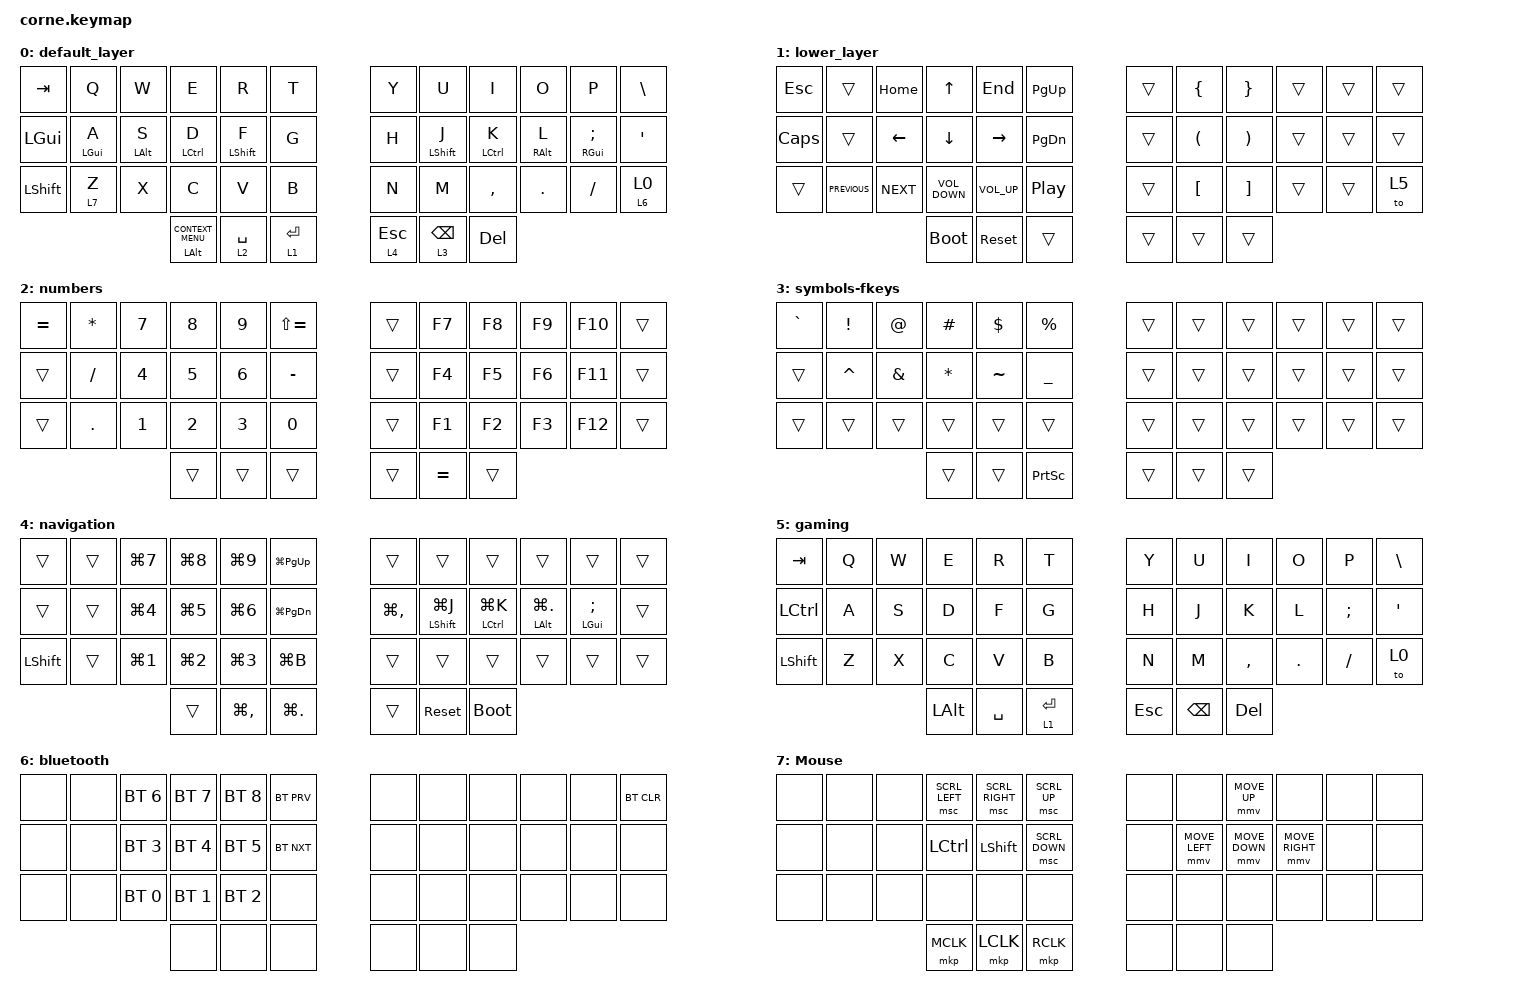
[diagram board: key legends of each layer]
/*
 * Copyright (c) 2020 The ZMK Contributors
 *
 * SPDX-License-Identifier: MIT
 */

#include <behaviors.dtsi>
#include <dt-bindings/zmk/bt.h>
#include <dt-bindings/zmk/keys.h>
#include <dt-bindings/zmk/pointing.h>

/ {
    behaviors {
        homerow: homerow {
            compatible = "zmk,behavior-hold-tap";
            label = "HOMEROW";
            bindings = <&kp>, <&kp>;

            #binding-cells = <2>;
            flavor = "balanced";
            tapping-term-ms = <170>;
        };

        connection: connection {
            compatible = "zmk,behavior-hold-tap";
            label = "CONNECTION";
            #binding-cells = <2>;
            bindings = <&mo>, <&to>;

            flavor = "balanced";
            tapping-term-ms = <300>;
        };

        homerow2: homerow2 {
            compatible = "zmk,behavior-hold-tap";
            label = "HOMEROW2";
            bindings = <&kp>, <&kp>;

            #binding-cells = <2>;
            flavor = "tap-preferred";
            tapping-term-ms = <300>;
        };
    };

    keymap {
        compatible = "zmk,keymap";

        default_layer {
            // -----------------------------------------------------------------------------------------
            // |  TAB |  Q  |  W  |  E  |  R  |  T  |   |  Y  |  U   |  I  |  O  |  P  | BSPC |
            // | CTRL |  A  |  S  |  D  |  F  |  G  |   |  H  |  J   |  K  |  L  |  ;  |  '   |
            // | SHFT |  Z  |  X  |  C  |  V  |  B  |   |  N  |  M   |  ,  |  .  |  /  | ESC  |
            //                    | GUI | LWR | SPC |   | ENT | RSE  | ALT |

            bindings = <
&kp TAB       &kp Q                 &kp W                 &kp E                        &kp R                  &kp T          &kp Y         &kp U                  &kp I             &kp O                  &kp P                          &kp BACKSLASH
&kp LEFT_GUI  &homerow2 LEFT_GUI A  &homerow2 LEFT_ALT S  &homerow LEFT_CONTROL D      &homerow LEFT_SHIFT F  &kp G          &kp H         &homerow LEFT_SHIFT J  &homerow LCTRL K  &homerow2 RIGHT_ALT L  &homerow2 RIGHT_GUI SEMICOLON  &kp SQT
&kp LSHFT     &lt 7 Z               &kp X                 &kp C                        &kp V                  &kp B          &kp N         &kp M                  &kp COMMA         &kp DOT                &kp FSLH                       &connection 6 0
                                                          &mt LEFT_ALT K_CONTEXT_MENU  &lt 2 SPACE            &lt 1 ENTER    &lt 4 ESCAPE  &lt 3 BACKSPACE        &kp DELETE
            >;
        };

        lower_layer {
            // -----------------------------------------------------------------------------------------
            // |  TAB |  1  |  2  |  3  |  4  |  5  |   |  6  |  7  |  8  |  9  |  0  | BSPC |
            // | BTCLR| BT1 | BT2 | BT3 | BT4 | BT5 |   | LFT | DWN |  UP | RGT |     |      |
            // | SHFT |     |     |     |     |     |   |     |     |     |     |     |      |
            //                    | GUI |     | SPC |   | ENT |     | ALT |

            bindings = <
&kp ESCAPE    &trans          &kp HOME    &kp UP_ARROW       &kp END          &kp PAGE_UP         &trans  &kp LEFT_BRACE        &kp RIGHT_BRACE        &trans  &trans  &trans
&kp CAPSLOCK  &trans          &kp LEFT    &kp DOWN           &kp RIGHT        &kp PAGE_DOWN       &trans  &kp LEFT_PARENTHESIS  &kp RIGHT_PARENTHESIS  &trans  &trans  &trans
&trans        &kp C_PREVIOUS  &kp C_NEXT  &kp C_VOLUME_DOWN  &kp C_VOLUME_UP  &kp C_PLAY_PAUSE    &trans  &kp LEFT_BRACKET      &kp RIGHT_BRACKET      &trans  &trans  &to 5
                                          &bootloader        &sys_reset       &trans              &trans  &trans                &trans
            >;
        };

        numbers {
            bindings = <
&kp EQUAL  &kp ASTERISK  &kp N7        &kp N8        &kp N9        &kp LS(EQUAL)    &trans  &kp F7     &kp F8  &kp F9  &kp F10  &trans
&trans     &kp SLASH     &kp NUMBER_4  &kp N5        &kp NUMBER_6  &kp MINUS        &trans  &kp F4     &kp F5  &kp F6  &kp F11  &trans
&trans     &kp PERIOD    &kp NUMBER_1  &kp NUMBER_2  &kp NUMBER_3  &kp N0           &trans  &kp F1     &kp F2  &kp F3  &kp F12  &trans
                                       &trans        &trans        &trans           &trans  &kp EQUAL  &trans
            >;
        };

        symbols-fkeys {
            bindings = <
&kp GRAVE  &kp EXCLAMATION  &kp AT_SIGN    &kp HASH      &kp DOLLAR  &kp PERCENT        &trans  &trans  &trans  &trans  &trans  &trans
&trans     &kp CARET        &kp AMPERSAND  &kp ASTERISK  &kp TILDE   &kp UNDERSCORE     &trans  &trans  &trans  &trans  &trans  &trans
&trans     &trans           &trans         &trans        &trans      &trans             &trans  &trans  &trans  &trans  &trans  &trans
                                           &trans        &trans      &kp PRINTSCREEN    &trans  &trans  &trans
            >;
        };

        navigation {
            bindings = <
&trans          &trans  &kp LG(N7)        &kp LG(N8)        &kp LG(N9)        &kp LG(PAGE_UP)      &trans         &trans                     &trans                &trans                         &trans                        &trans
&trans          &trans  &kp LG(NUMBER_4)  &kp LG(N5)        &kp LG(NUMBER_6)  &kp LG(PAGE_DOWN)    &kp LG(COMMA)  &homerow LEFT_SHIFT LG(J)  &homerow LCTRL LG(K)  &homerow2 LEFT_ALT LG(PERIOD)  &homerow2 LEFT_GUI SEMICOLON  &trans
&kp LEFT_SHIFT  &trans  &kp LG(NUMBER_1)  &kp LG(NUMBER_2)  &kp LG(NUMBER_3)  &kp LG(B)            &trans         &trans                     &trans                &trans                         &trans                        &trans
                                          &trans            &kp LG(COMMA)     &kp LG(PERIOD)       &trans         &sys_reset                 &bootloader
            >;
        };

        gaming {
            bindings = <
&kp TAB    &kp Q  &kp W  &kp E     &kp R      &kp T          &kp Y       &kp U          &kp I      &kp O    &kp P     &kp BACKSLASH
&kp LCTRL  &kp A  &kp S  &kp D     &kp F      &kp G          &kp H       &kp J          &kp K      &kp L    &kp SEMI  &kp APOS
&kp LSHFT  &kp Z  &kp X  &kp C     &kp V      &kp B          &kp N       &kp M          &kp COMMA  &kp DOT  &kp FSLH  &to 0
                         &kp LALT  &kp SPACE  &lt 1 ENTER    &kp ESCAPE  &kp BACKSPACE  &kp DEL
            >;
        };

        bluetooth {
            bindings = <
&none  &none  &bt BT_SEL 6  &bt BT_SEL 7  &bt BT_SEL 8  &bt BT_PRV    &none  &none  &none  &none  &none  &bt BT_CLR
&none  &none  &bt BT_SEL 3  &bt BT_SEL 4  &bt BT_SEL 5  &bt BT_NXT    &none  &none  &none  &none  &none  &none
&none  &none  &bt BT_SEL 0  &bt BT_SEL 1  &bt BT_SEL 2  &none         &none  &none  &none  &none  &none  &none
                            &none         &none         &none         &none  &none  &none
            >;
        };

        Mouse {
            bindings = <
&none  &none  &none  &msc SCRL_LEFT  &msc SCRL_RIGHT  &msc SCRL_UP      &none  &none           &mmv MOVE_UP    &none            &none  &none
&none  &none  &none  &kp LCTRL       &kp LEFT_SHIFT   &msc SCRL_DOWN    &none  &mmv MOVE_LEFT  &mmv MOVE_DOWN  &mmv MOVE_RIGHT  &none  &none
&none  &none  &none  &none           &none            &none             &none  &none           &none           &none            &none  &none
                     &mkp MCLK       &mkp LCLK        &mkp RCLK         &none  &none           &none
            >;
        };
    };
};
